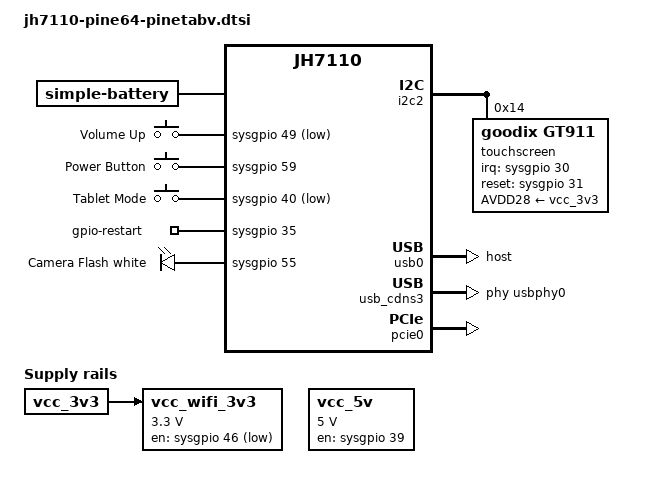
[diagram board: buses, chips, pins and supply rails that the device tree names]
// SPDX-License-Identifier: GPL-2.0 OR MIT
/*
 * Copyright (C) 2022 StarFive Technology Co., Ltd.
 * Copyright (C) 2022 Hal Feng <hal.feng@starfivetech.com>
 * Copyright (C) 2025 Icenowy Zheng <uwu@icenowy.me>
 */

/dts-v1/;
#include "jh7110-common.dtsi"
#include <dt-bindings/input/linux-event-codes.h>
#include <dt-bindings/leds/common.h>
#include <dt-bindings/interrupt-controller/irq.h>

/ {
	chassis-type = "tablet";

	battery: battery {
		compatible = "simple-battery";
		charge-full-design-microamp-hours = <9800000>;
		voltage-max-design-microvolt = <4350000>;
		voltage-min-design-microvolt = <3000000>;
	};

	gpio_keys: gpio-keys {
		compatible = "gpio-keys";
		autorepeat;

		key-vol-down {
			debounce-interval = <10>;
			/* incorrectly labeled as Vol+ in pinetab-v 2023 schematic */
			gpios = <&sysgpio 49 GPIO_ACTIVE_LOW>;
			label = "Volume Up";
			linux,input-type = <EV_KEY>;
			linux,code = <KEY_VOLUMEDOWN>;
		};

		key-power {
			debounce-interval = <10>;
			gpios = <&sysgpio 59 GPIO_ACTIVE_HIGH>;
			label = "Power Button";
			linux,input-type = <EV_KEY>;
			linux,code = <KEY_POWER>;
		};

		switch-hall-sensor {
			debounce-interval = <10>;
			gpios = <&sysgpio 40 GPIO_ACTIVE_LOW>;
			label = "Tablet Mode";
			linux,input-type = <EV_SW>;
			linux,code = <SW_TABLET_MODE>;
		};
	};

	gpio-restart {
		compatible = "gpio-restart";
		gpios = <&sysgpio 35 GPIO_ACTIVE_HIGH>;
		priority = <160>;
	};

	leds {
		compatible = "gpio-leds";

		led-flash {
			color = <LED_COLOR_ID_WHITE>;
			function = LED_FUNCTION_FLASH;
			gpios = <&sysgpio 55 GPIO_ACTIVE_HIGH>;
			label = "Camera Flash";
			linux,default-trigger = "flash";
			power-supply = <&vcc_5v>;
		};
	};

	vcc_5v: regulator-vcc-5v {
		compatible = "regulator-fixed";
		enable-active-high;
		gpio = <&sysgpio 39 GPIO_ACTIVE_HIGH>;
		regulator-always-on;
		regulator-boot-on;
		regulator-max-microvolt = <5000000>;
		regulator-min-microvolt = <5000000>;
		regulator-name = "vcc-5v";
	};

	vcc_wifi_3v3: vcc-wifi_3v3 {
		compatible = "regulator-fixed";
		enable-active-low;
		gpio = <&sysgpio 46 GPIO_ACTIVE_LOW>;
		regulator-always-on;
		regulator-boot-on;
		regulator-max-microvolt = <3300000>;
		regulator-min-microvolt = <3300000>;
		regulator-name = "wifi_3v3";
		vin-supply = <&vcc_3v3>;
	};
};

&i2c2 {
	touchscreen@14 {
		compatible = "goodix,gt911";
		reg = <0x14>;
		AVDD28-supply = <&vcc_3v3>;
		interrupt-parent = <&sysgpio>;
		interrupts = <30 IRQ_TYPE_EDGE_FALLING>;
		irq-gpios = <&sysgpio 30 GPIO_ACTIVE_HIGH>;
		pinctrl-names = "default";
		reset-gpios = <&sysgpio 31 GPIO_ACTIVE_HIGH>;
		status = "okay";
	};
};

&usb0 {
	dr_mode = "host";
	pinctrl-0 = <&usb0_pins>;
	pinctrl-names = "default";
	status = "okay";
};

&usb_cdns3 {
	phy-names = "cdns3,usb2-phy", "cdns3,usb3-phy";
	phys = <&usbphy0>, <&pciephy0>;
};

&sysgpio {
	usb0_pins: usb0-0 {
		vbus-pins {
			bias-disable;
			input-disable;
			input-schmitt-disable;
			pinmux = <GPIOMUX(25, GPOUT_SYS_USB_DRIVE_VBUS,
					      GPOEN_ENABLE,
					      GPI_NONE)>;
			slew-rate = <0>;
		};

		usb-pins {
			bias-disable;
			pinmux = <GPIOMUX(43, GPOUT_LOW,
					      GPOEN_DISABLE,
					      GPI_NONE)>;
		};
	};
};

&pcie0 {
	status = "okay";
};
